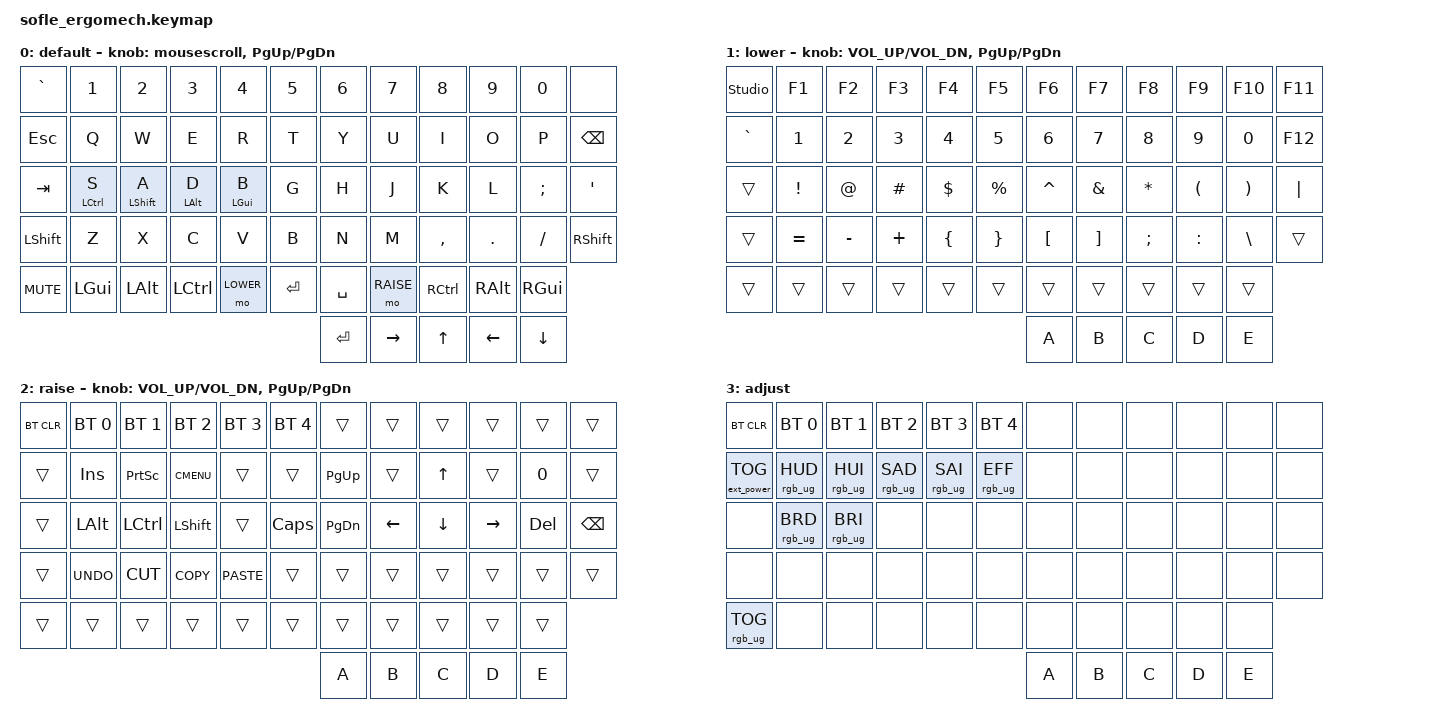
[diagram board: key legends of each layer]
/*
 * Copyright (c) 2020 The ZMK Contributors
 *
 * SPDX-License-Identifier: MIT
 */

#define ZMK_POINTING_DEFAULT_SCRL_VAL 300

#include <behaviors.dtsi>
#include <dt-bindings/zmk/bt.h>
#include <dt-bindings/zmk/ext_power.h>
#include <dt-bindings/zmk/keys.h>
#include <dt-bindings/zmk/pointing.h>
#include <dt-bindings/zmk/rgb.h>

#define BASE 0
#define LOWER 1
#define RAISE 2
#define ADJUST 3

/ {
    // Activate ADJUST layer by pressing raise and lower

    conditional_layers {
        compatible = "zmk,conditional-layers";

        adjust_layer {
            if-layers = <LOWER RAISE>;
            then-layer = <ADJUST>;
        };
    };

    behaviors {
        mousescroll: mousescroll {
            compatible = "zmk,behavior-sensor-rotate";
            #sensor-binding-cells = <0>;
            bindings = <&msc SCRL_UP>, <&msc SCRL_DOWN>;

            tap-ms = <20>;
        };

        L_MOD_TAP: L_MOD_TAP {
            compatible = "zmk,behavior-hold-tap";
            label = "L_MOD_TAP";
            bindings = <&kp>, <&kp>;

            #binding-cells = <2>;
            tapping-term-ms = <280>;
            hold-trigger-on-release;
            hold-trigger-key-positions = <6 7 8 18 19 20 30 31 32 42 43 44 54 55 56 57 8 9 10 11 20 21 22 23 32 33 34 35 44 45 46 47 58>;
            flavor = "balanced";
            require-prior-idle-ms = <150>;
            quick-tap-ms = <175>;
        };
    };

    keymap {
        compatible = "zmk,keymap";

        default_layer {
            label = "default";

            // ------------------------------------------------------------------------------------------------------------
            // |   `   |  1  |  2  |  3   |  4   |  5   |                   |  6   |  7    |  8    |  9   |   0   |       |
            // |  ESC  |  Q  |  W  |  E   |  R   |  T   |                   |  Y   |  U    |  I    |  O   |   P   | BKSPC |
            // |  TAB  |  A  |  S  |  D   |  F   |  G   |                   |  H   |  J    |  K    |  L   |   ;   |   '   |
            // | SHIFT |  Z  |  X  |  C   |  V   |  B   |  MUTE  |  |       |  N   |  M    |  ,    |  .   |   /   | SHIFT |
            //               | GUI | ALT  | CTRL | LOWER|  ENTER |  | SPACE | RAISE| CTRL  | ALT   | GUI  |

            bindings = <
&kp GRAVE   &kp N1                     &kp N2                   &kp N3                 &kp N4                 &kp N5   &kp N6     &kp N7     &kp N8     &kp N9    &kp N0    &none
&kp ESC     &kp Q                      &kp W                    &kp E                  &kp R                  &kp T    &kp Y      &kp U      &kp I      &kp O     &kp P     &kp BSPC
&kp TAB     &L_MOD_TAP LEFT_CONTROL S  &L_MOD_TAP LEFT_SHIFT A  &L_MOD_TAP LEFT_ALT D  &L_MOD_TAP LEFT_GUI B  &kp G    &kp H      &kp J      &kp K      &kp L     &kp SEMI  &kp SQT
&kp LSHFT   &kp Z                      &kp X                    &kp C                  &kp V                  &kp B    &kp N      &kp M      &kp COMMA  &kp DOT   &kp FSLH  &kp RSHFT
&kp C_MUTE  &kp LGUI                   &kp LALT                 &kp LCTRL              &mo LOWER              &kp RET  &kp SPACE  &mo RAISE  &kp RCTRL  &kp RALT  &kp RGUI
                                                                                                                       &kp ENTER  &kp RIGHT  &kp UP     &kp LEFT  &kp DOWN
            >;

            sensor-bindings = <&mousescroll &inc_dec_kp PG_UP PG_DN>;
        };

        lower_layer {
            label = "lower";

            // TODO: Some binds are waiting for shifted keycode support.
            // ------------------------------------------------------------------------------------------------------------
            // |       |  F1 |  F2 |  F3  |  F4  |  F5  |                   |  F6  |  F7   |  F8   |  F9  |  F10  |  F11  |
            // |   `   |  1  |  2  |  3   |  4   |  5   |                   |  6   |  7    |  8    |  9   |   0   |  F12  |
            // |       |  !  |  @  |  #   |  $   |  %   |                   |  ^   |  &    |  *    |  (   |   )   |   |   |
            // |       |  =  |  -  |  +   |  {   |  }   |        |  |       |  [   |  ]    |  ;    |  :   |   \   |       |
            //               |     |      |      |      |        |  |       |      |       |       |      |

            bindings = <
&studio_unlock  &kp F1     &kp F2     &kp F3    &kp F4    &kp F5     &kp F6     &kp F7    &kp F8     &kp F9     &kp F10   &kp F11
&kp GRAVE       &kp N1     &kp N2     &kp N3    &kp N4    &kp N5     &kp N6     &kp N7    &kp N8     &kp N9     &kp N0    &kp F12
&trans          &kp EXCL   &kp AT     &kp HASH  &kp DLLR  &kp PRCNT  &kp CARET  &kp AMPS  &kp ASTRK  &kp LPAR   &kp RPAR  &kp PIPE
&trans          &kp EQUAL  &kp MINUS  &kp PLUS  &kp LBRC  &kp RBRC   &kp LBKT   &kp RBKT  &kp SEMI   &kp COLON  &kp BSLH  &trans
&trans          &trans     &trans     &trans    &trans    &trans     &trans     &trans    &trans     &trans     &trans
                                                                     &kp A      &kp B     &kp C      &kp D      &kp E
            >;

            sensor-bindings = <&inc_dec_kp C_VOL_UP C_VOL_DN &inc_dec_kp PG_UP PG_DN>;
        };

        raise_layer {
            label = "raise";

            // ------------------------------------------------------------------------------------------------------------
            // | BTCLR | BT1  | BT2  |  BT3  |  BT4  |  BT5 |                |      |      |       |      |       |       |
            // |       | INS  | PSCR | GUI   |       |      |                | PGUP |      |   ^   |      |       |       |
            // |       | ALT  | CTRL | SHIFT |       | CAPS |                | PGDN |   <- |   v   |  ->  |  DEL  | BKSPC |
            // |       | UNDO | CUT  | COPY  | PASTE |      |      |  |      |      |      |       |      |       |       |
            //                |      |       |       |      |      |  |      |      |      |       |      |

            bindings = <
&bt BT_CLR  &bt BT_SEL 0  &bt BT_SEL 1  &bt BT_SEL 2  &bt BT_SEL 3  &bt BT_SEL 4  &trans     &trans    &trans    &trans     &trans   &trans
&trans      &kp INS       &kp PSCRN     &kp K_CMENU   &trans        &trans        &kp PG_UP  &trans    &kp UP    &trans     &kp N0   &trans
&trans      &kp LALT      &kp LCTRL     &kp LSHFT     &trans        &kp CLCK      &kp PG_DN  &kp LEFT  &kp DOWN  &kp RIGHT  &kp DEL  &kp BSPC
&trans      &kp K_UNDO    &kp K_CUT     &kp K_COPY    &kp K_PASTE   &trans        &trans     &trans    &trans    &trans     &trans   &trans
&trans      &trans        &trans        &trans        &trans        &trans        &trans     &trans    &trans    &trans     &trans
                                                                                  &kp A      &kp B     &kp C     &kp D      &kp E
            >;

            sensor-bindings = <&inc_dec_kp C_VOL_UP C_VOL_DN &inc_dec_kp PG_UP PG_DN>;
        };

        adjust_layer {
            // ----------------------------------------------------------------------------------------------------------------------------
            // | BTCLR  |  BT1    |  BT2    |   BT3   |   BT4   |   BT5   |                  |      |      |       |      |       |       |
            // | EXTPWR | RGB_HUD | RGB_HUI | RGB_SAD | RGB_SAI | RGB_EFF |                  |      |      |       |      |       |       |
            // |        | RGB_BRD | RGB_BRI |         |         |         |                  |      |      |       |      |       |       |
            // |        |         |         |         |         |         | RGB_TOG | |      |      |      |       |      |       |       |
            //                    |         |         |         |         |         | |      |      |      |       |      |

            label = "adjust";
            bindings = <
&bt BT_CLR         &bt BT_SEL 0     &bt BT_SEL 1     &bt BT_SEL 2     &bt BT_SEL 3     &bt BT_SEL 4     &none  &none  &none  &none  &none  &none
&ext_power EP_TOG  &rgb_ug RGB_HUD  &rgb_ug RGB_HUI  &rgb_ug RGB_SAD  &rgb_ug RGB_SAI  &rgb_ug RGB_EFF  &none  &none  &none  &none  &none  &none
&none              &rgb_ug RGB_BRD  &rgb_ug RGB_BRI  &none            &none            &none            &none  &none  &none  &none  &none  &none
&none              &none            &none            &none            &none            &none            &none  &none  &none  &none  &none  &none
&rgb_ug RGB_TOG    &none            &none            &none            &none            &none            &none  &none  &none  &none  &none
                                                                                                        &kp A  &kp B  &kp C  &kp D  &kp E
            >;
        };
    };
};
